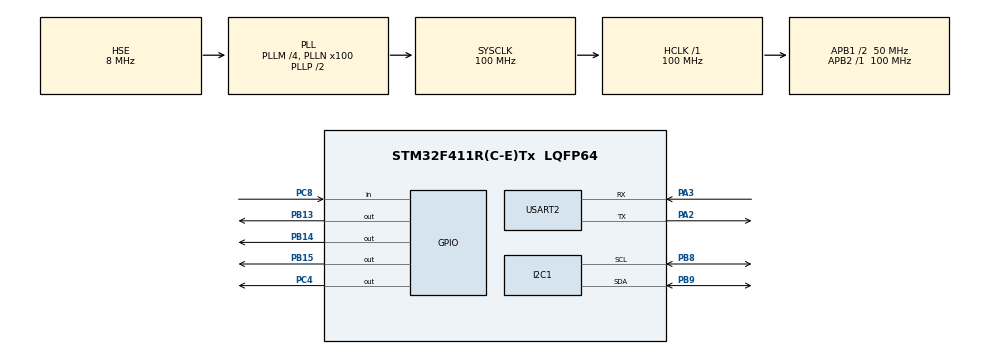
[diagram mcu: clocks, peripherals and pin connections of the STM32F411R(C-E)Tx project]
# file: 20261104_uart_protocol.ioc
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Mcu.Family=STM32F4
Mcu.Name=STM32F411R(C-E)Tx
Mcu.Package=LQFP64
NVIC.PriorityGroup=NVIC_PRIORITYGROUP_4
NVIC.USART2_IRQn=true\:0\:0\:false\:false\:true\:true\:true\:true
PA2.Mode=Asynchronous
PA2.Signal=USART2_TX
PA3.Mode=Asynchronous
PA3.Signal=USART2_RX
PB13.Signal=GPIO_Output
PB14.Signal=GPIO_Output
PB15.Signal=GPIO_Output
PB8.Mode=I2C
PB8.Signal=I2C1_SCL
PB9.Mode=I2C
PB9.Signal=I2C1_SDA
PC4.Signal=GPIO_Output
PC8.Signal=GPIO_Input
PH0\ -\ OSC_IN.Mode=HSE-External-Oscillator
PH0\ -\ OSC_IN.Signal=RCC_OSC_IN
PH1\ -\ OSC_OUT.Mode=HSE-External-Oscillator
PH1\ -\ OSC_OUT.Signal=RCC_OSC_OUT
ProjectManager.HeapSize=0x200
ProjectManager.StackSize=0x400
ProjectManager.TargetToolchain=STM32CubeIDE
RCC.48MHZClocksFreq_Value=50000000
RCC.AHBFreq_Value=100000000
RCC.APB1CLKDivider=RCC_HCLK_DIV2
RCC.APB1Freq_Value=50000000
RCC.APB1TimFreq_Value=100000000
RCC.APB2Freq_Value=100000000
RCC.APB2TimFreq_Value=100000000
RCC.CortexFreq_Value=100000000
RCC.HCLKFreq_Value=100000000
RCC.HSE_VALUE=8000000
RCC.HSI_VALUE=16000000
RCC.LSE_VALUE=32768
RCC.PLLM=4
RCC.PLLN=100
RCC.PLLSourceVirtual=RCC_PLLSOURCE_HSE
RCC.SYSCLKFreq_VALUE=100000000
RCC.SYSCLKSource=RCC_SYSCLKSOURCE_PLLCLK
RCC.VCOOutputFreq_Value=200000000
USART2.VirtualMode=VM_ASYNC
board=custom

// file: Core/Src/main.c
/* USER CODE BEGIN Header */
/**
 ******************************************************************************
 * @file           : main.c
 * @brief          : Main program body
 ******************************************************************************
 * @attention
 *
 * Copyright (c) 2026 STMicroelectronics.
 * All rights reserved.
 *
 * This software is licensed under terms that can be found in the LICENSE file
 * in the root directory of this software component.
 * If no LICENSE file comes with this software, it is provided AS-IS.
 *
 ******************************************************************************
 */
/* USER CODE END Header */
#include "main.h"

/* USER CODE BEGIN Includes */
#include "driver/uart_protocol/uart_protocol.h"
/* USER CODE END Includes */

I2C_HandleTypeDef hi2c1;

UART_HandleTypeDef huart2;

void SystemClock_Config(void);
static void MX_GPIO_Init(void);
static void MX_USART2_UART_Init(void);
static void MX_I2C1_Init(void);

/* USER CODE BEGIN 0 */
void packet_do_func(uint8_t cmd, uint8_t *payload, uint8_t payload_len) {

	switch (cmd)
	{
	case CMD_LED0_SET : {// ex) cmd = 0x10, payload = 1, payload_len = 1
		uint8_t send_payload;
		if (payload_len >= 1) {
			if (payload[0] == 1) {
				HAL_GPIO_WritePin(GPIOB, GPIO_PIN_15, GPIO_PIN_SET);
			}
			else {
				HAL_GPIO_WritePin(GPIOB, GPIO_PIN_15, GPIO_PIN_RESET);
			}
			send_payload = RSP_OK;
		}
		else {
			send_payload = RSP_ERR;
		}
		//UART_protocol_send(CMD_LED_RSP, &send_payload, 1);
		UART_protocol_send(cmd+0x80, &send_payload, 1);
		break;
	}
	case CMD_LED1_SET : {
		uint8_t send_payload;
		if (payload_len >= 1) {
			if (payload[0] == 1) {
				HAL_GPIO_WritePin(GPIOB, GPIO_PIN_14, GPIO_PIN_SET);
			}
			else {
				HAL_GPIO_WritePin(GPIOB, GPIO_PIN_14, GPIO_PIN_RESET);
			}
			send_payload = RSP_OK;
		}
		else {
			send_payload = RSP_ERR;
		}
		UART_protocol_send(cmd+0x80, &send_payload, 1);
		break;
	}
	case CMD_LED2_SET : {
		uint8_t send_payload;
		if (payload_len >= 1) {
			if (payload[0] == 1) {
				HAL_GPIO_WritePin(GPIOB, GPIO_PIN_13, GPIO_PIN_SET);
			}
			else {
				HAL_GPIO_WritePin(GPIOB, GPIO_PIN_13, GPIO_PIN_RESET);
			}
			send_payload = RSP_OK;
		}
		else {
			send_payload = RSP_ERR;
		}
		UART_protocol_send(cmd+0x80, &send_payload, 1);
		break;
	}
	case CMD_LED3_SET : {
		uint8_t send_payload;
		if (payload_len >= 1) {
			if (payload[0] == 1) {
				HAL_GPIO_WritePin(GPIOC, GPIO_PIN_4, GPIO_PIN_SET);
			}
			else {
				HAL_GPIO_WritePin(GPIOC, GPIO_PIN_4, GPIO_PIN_RESET);
			}
			send_payload = RSP_OK;
		}
		else {
			send_payload = RSP_ERR;
		}
		UART_protocol_send(cmd+0x80, &send_payload, 1);
		break;
	}
	case CMD_LED_STATUS_REQ : {
		uint8_t send_payload[4];
		send_payload[0] = (HAL_GPIO_ReadPin(GPIOB, GPIO_PIN_15) == GPIO_PIN_SET ? 1:0);
		send_payload[1] = (HAL_GPIO_ReadPin(GPIOB, GPIO_PIN_14) == GPIO_PIN_SET ? 1:0);
		send_payload[2] = (HAL_GPIO_ReadPin(GPIOB, GPIO_PIN_13) == GPIO_PIN_SET ? 1:0);
		send_payload[3] = (HAL_GPIO_ReadPin(GPIOC, GPIO_PIN_4) == GPIO_PIN_SET ? 1:0);
		UART_protocol_send(cmd+0x80, send_payload, 4);
		break;
	}
	case CMD_TEMP_HUMID_REQ : {
		uint8_t dummy_temp_int = 21;
		uint8_t dummy_temp_dec = 1;
		uint8_t dummy_humid_int = 48;
		uint8_t dummy_humid_dec = 0;

		uint8_t send_payload[4];
		send_payload[0] = dummy_temp_int;
		send_payload[1] = dummy_temp_dec;
		send_payload[2] = dummy_humid_int;
		send_payload[3] = dummy_humid_dec;

		UART_protocol_send(cmd+0x80, send_payload, 4);
		break;
	}
	case CMD_DISTANCE_REQ : {
		uint16_t dummy_distance = 0x01fa;  //287;
		uint8_t send_payload[2];

		send_payload[0] = (uint8_t)((uint16_t)dummy_distance >> 8);	//상위 8bit
		send_payload[1] = (uint8_t)((uint16_t)dummy_distance & 0xff); //하위 8bit

		UART_protocol_send(cmd+0x80, send_payload, 2);
		break;
	}
	default :
		break;
	}
}
/* USER CODE END 0 */

int main(void)
{

  /* MCU Configuration--------------------------------------------------------*/

  /* Reset of all peripherals, Initializes the Flash interface and the Systick. */
  HAL_Init();

  /* Configure the system clock */
  SystemClock_Config();

  /* Initialize all configured peripherals */
  MX_GPIO_Init();
  MX_USART2_UART_Init();
  MX_I2C1_Init();
  /* USER CODE BEGIN 2 */
	UART_protocol_init(&huart2, packet_do_func);
  /* USER CODE END 2 */

  /* Infinite loop */
	while (1)
	{

	}
}

void SystemClock_Config(void)
{
  RCC_OscInitTypeDef RCC_OscInitStruct = {0};
  RCC_ClkInitTypeDef RCC_ClkInitStruct = {0};

  /** Configure the main internal regulator output voltage
  */
  __HAL_RCC_PWR_CLK_ENABLE();
  __HAL_PWR_VOLTAGESCALING_CONFIG(PWR_REGULATOR_VOLTAGE_SCALE1);

  /** Initializes the RCC Oscillators according to the specified parameters
  * in the RCC_OscInitTypeDef structure.
  */
  RCC_OscInitStruct.OscillatorType = RCC_OSCILLATORTYPE_HSE;
  RCC_OscInitStruct.HSEState = RCC_HSE_ON;
  RCC_OscInitStruct.PLL.PLLState = RCC_PLL_ON;
  RCC_OscInitStruct.PLL.PLLSource = RCC_PLLSOURCE_HSE;
  RCC_OscInitStruct.PLL.PLLM = 4;
  RCC_OscInitStruct.PLL.PLLN = 100;
  RCC_OscInitStruct.PLL.PLLP = RCC_PLLP_DIV2;
  RCC_OscInitStruct.PLL.PLLQ = 4;
  if (HAL_RCC_OscConfig(&RCC_OscInitStruct) != HAL_OK)
  {
    Error_Handler();
  }

  /** Initializes the CPU, AHB and APB buses clocks
  */
  RCC_ClkInitStruct.ClockType = RCC_CLOCKTYPE_HCLK|RCC_CLOCKTYPE_SYSCLK
                              |RCC_CLOCKTYPE_PCLK1|RCC_CLOCKTYPE_PCLK2;
  RCC_ClkInitStruct.SYSCLKSource = RCC_SYSCLKSOURCE_PLLCLK;
  RCC_ClkInitStruct.AHBCLKDivider = RCC_SYSCLK_DIV1;
  RCC_ClkInitStruct.APB1CLKDivider = RCC_HCLK_DIV2;
  RCC_ClkInitStruct.APB2CLKDivider = RCC_HCLK_DIV1;

  if (HAL_RCC_ClockConfig(&RCC_ClkInitStruct, FLASH_LATENCY_3) != HAL_OK)
  {
    Error_Handler();
  }
}

static void MX_I2C1_Init(void)
{

  hi2c1.Instance = I2C1;
  hi2c1.Init.ClockSpeed = 100000;
  hi2c1.Init.DutyCycle = I2C_DUTYCYCLE_2;
  hi2c1.Init.OwnAddress1 = 0;
  hi2c1.Init.AddressingMode = I2C_ADDRESSINGMODE_7BIT;
  hi2c1.Init.DualAddressMode = I2C_DUALADDRESS_DISABLE;
  hi2c1.Init.OwnAddress2 = 0;
  hi2c1.Init.GeneralCallMode = I2C_GENERALCALL_DISABLE;
  hi2c1.Init.NoStretchMode = I2C_NOSTRETCH_DISABLE;
  if (HAL_I2C_Init(&hi2c1) != HAL_OK)
  {
    Error_Handler();
  }

}

static void MX_USART2_UART_Init(void)
{

  huart2.Instance = USART2;
  huart2.Init.BaudRate = 115200;
  huart2.Init.WordLength = UART_WORDLENGTH_8B;
  huart2.Init.StopBits = UART_STOPBITS_1;
  huart2.Init.Parity = UART_PARITY_NONE;
  huart2.Init.Mode = UART_MODE_TX_RX;
  huart2.Init.HwFlowCtl = UART_HWCONTROL_NONE;
  huart2.Init.OverSampling = UART_OVERSAMPLING_16;
  if (HAL_UART_Init(&huart2) != HAL_OK)
  {
    Error_Handler();
  }

}

static void MX_GPIO_Init(void)
{
  GPIO_InitTypeDef GPIO_InitStruct = {0};

  /* GPIO Ports Clock Enable */
  __HAL_RCC_GPIOH_CLK_ENABLE();
  __HAL_RCC_GPIOA_CLK_ENABLE();
  __HAL_RCC_GPIOC_CLK_ENABLE();
  __HAL_RCC_GPIOB_CLK_ENABLE();

  /*Configure GPIO pin Output Level */
  HAL_GPIO_WritePin(GPIOC, GPIO_PIN_4, GPIO_PIN_RESET);

  /*Configure GPIO pin Output Level */
  HAL_GPIO_WritePin(GPIOB, GPIO_PIN_13|GPIO_PIN_14|GPIO_PIN_15, GPIO_PIN_RESET);

  /*Configure GPIO pin : PC4 */
  GPIO_InitStruct.Pin = GPIO_PIN_4;
  GPIO_InitStruct.Mode = GPIO_MODE_OUTPUT_PP;
  GPIO_InitStruct.Pull = GPIO_NOPULL;
  GPIO_InitStruct.Speed = GPIO_SPEED_FREQ_LOW;
  HAL_GPIO_Init(GPIOC, &GPIO_InitStruct);

  /*Configure GPIO pins : PB13 PB14 PB15 */
  GPIO_InitStruct.Pin = GPIO_PIN_13|GPIO_PIN_14|GPIO_PIN_15;
  GPIO_InitStruct.Mode = GPIO_MODE_OUTPUT_PP;
  GPIO_InitStruct.Pull = GPIO_NOPULL;
  GPIO_InitStruct.Speed = GPIO_SPEED_FREQ_LOW;
  HAL_GPIO_Init(GPIOB, &GPIO_InitStruct);

  /*Configure GPIO pin : PC8 */
  GPIO_InitStruct.Pin = GPIO_PIN_8;
  GPIO_InitStruct.Mode = GPIO_MODE_INPUT;
  GPIO_InitStruct.Pull = GPIO_NOPULL;
  HAL_GPIO_Init(GPIOC, &GPIO_InitStruct);

}

void Error_Handler(void)
{
	__disable_irq();
	while (1)
	{
	}
}
